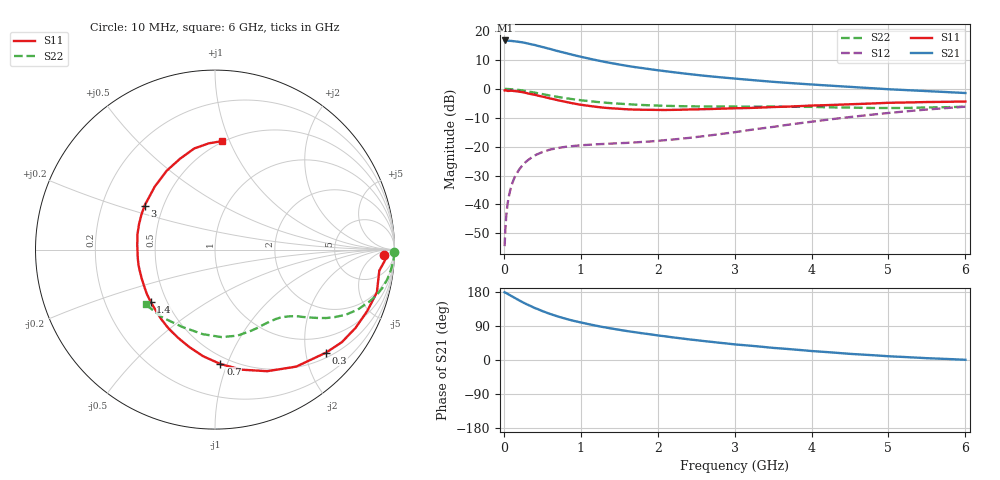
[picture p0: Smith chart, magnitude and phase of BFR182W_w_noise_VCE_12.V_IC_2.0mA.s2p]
! Infineon Technologies  Discrete & RF Semiconductors
! BFR182W
! VCE =  12. V,  IC =  2.0 mA
! Common Emitter S-Parameters:  Jan 2017
# GHz  S  MA  R  50
!  f  S11  S21  S12  S22
! GHz  MAG  ANG  MAG  ANG  MAG  ANG  MAG  ANG
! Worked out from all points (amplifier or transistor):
!   77 points, 10 MHz to 6 GHz, reference 50 ohm
!   highest |S21| = 16.8 dB at 20 MHz (marker M1)
!   |S21| within 3 dB of that: start of sweep to 608.6 MHz
!   unconditionally stable (mu >= 1): 1.782 GHz to 3.133 GHz
!   at 130 MHz: K = 0.09, MSG = 23.9 dB, |S12| = -31.2 dB
!   at 2.2 GHz: K = 1.08, MAG = 9.9 dB, |S12| = -17.5 dB
!   at 6 GHz: K = 0.81, MSG = 2.4 dB, |S12| = -6.2 dB
!   lowest NFmin = 0.85 dB at 450 MHz
!   S11 on the Smith chart (normalised r, x): 10 MHz: 26, -13; 300 MHz: 0.61, -2.42; 700 MHz: 0.44, -0.95; 1.4 GHz: 0.41, -0.30; 3 GHz: 0.39, +0.24; 6 GHz: 0.49, +0.94
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0.01  0.9403 -1.7  6.84 178.7  0.0019 86.4  1 -0.7
0.02  0.9526 -3.1  6.891 177.8  0.0038 101.0  0.9998 -1.5
0.05  0.9227 -7.3  6.828 174.4  0.0105 84.6  0.9956 -3.4
0.1  0.9329 -14.8  6.761 168.7  0.0213 81.1  0.9863 -6.7
0.2  0.8961 -29.2  6.498 157.3  0.0405 73.5  0.9566 -12.9
0.25  0.875 -36.1  6.363 151.8  0.049 69.1  0.9358 -15.7
0.3  0.8441 -42.8  6.155 146.8  0.0567 65.6  0.9109 -18.3
0.4  0.7937 -55.2  5.762 137.4  0.0705 59.7  0.8628 -22.8
0.5  0.7371 -66.8  5.314 129.2  0.0806 54.5  0.8137 -26.5
0.6  0.6848 -77.6  4.914 121.7  0.0892 50.5  0.7674 -29.3
0.7  0.6381 -87.3  4.516 115.0  0.0946 47.7  0.7277 -31.6
0.9  0.561 -104.9  3.87 103.7  0.1027 43.5  0.6629 -34.9
1.1  0.5099 -120.5  3.363 94.7  0.1077 41.6  0.6163 -37.5
1.4  0.4621 -140.8  2.79 83.1  0.1132 42.0  0.5659 -41.0
1.8  0.4357 -164.0  2.291 70.5  0.1209 45.3  0.527 -45.9
2.1  0.4319 -178.6  2.024 62.4  0.1298 49.5  0.5101 -50.3
2.6  0.4462 161.6  1.692 50.0  0.1522 55.7  0.4967 -58.9
3  0.4625 148.1  1.51 41.2  0.1779 59.1  0.4949 -65.8
3.1  0.4647 145.1  1.47 39.5  0.1863 59.5  0.494 -67.7
4.1  0.5193 119.3  1.17 22.3  0.2813 58.8  0.4847 -88.0
5.1  0.5778 99.9  0.972 8.9  0.3943 50.4  0.4674 -115.9
6  0.6052 86.4  0.849 0.6  0.4925 39.8  0.4928 -141.7
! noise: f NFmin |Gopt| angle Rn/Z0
0.45  0.85  0.5  30  0.26
0.9  0.99  0.4  58  0.24
1.9  1.74  0.3  142  0.14
2.4  2.11  0.26  164  0.19
